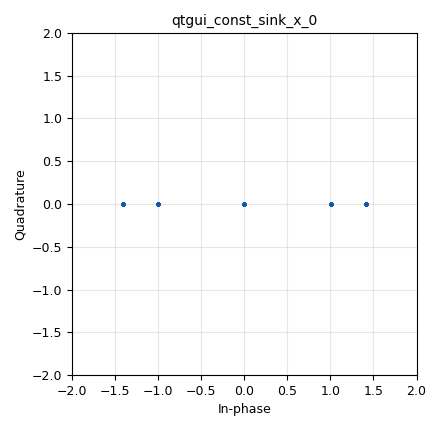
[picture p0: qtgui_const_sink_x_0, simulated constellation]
options:
  parameters:
    author: Benjamin
    copyright: http://courses.washington.edu/ee420/projects/lab2_gnuradio.pdf
    generate_options: qt_gui
    id: DBPSK
    output_language: python
    title: DBPSK
  states: {}

blocks:
- name: samp_rate
  id: variable
  parameters:
    value: '32000'
  states: {}
- name: blocks_file_sink_0
  id: blocks_file_sink
  parameters:
    file: /dev/pts/0
    type: byte
  states: {}
- name: blocks_file_sink_0_0
  id: blocks_file_sink
  parameters:
    file: /dev/pts/1
    type: byte
  states: {}
- name: blocks_throttle_0
  id: blocks_throttle
  parameters:
    samples_per_second: samp_rate
    type: complex
  states: {}
- name: blocks_unpacked_to_packed_xx_0
  id: blocks_unpacked_to_packed_xx
  parameters:
    bits_per_chunk: '1'
    endianness: gr.GR_MSB_FIRST
    type: byte
  states: {}
- name: blocks_vector_source_x_0
  id: blocks_vector_source_x
  parameters:
    repeat: 'True'
    type: byte
    vector: '[1, 0]'
  states: {}
- name: digital_psk_demod_0
  id: digital_psk_demod
  parameters:
    constellation_points: '2'
    differential: 'True'
    excess_bw: '0.35'
    freq_bw: 6.28/100.0
    mod_code: '"gray"'
    phase_bw: 6.28/100.0
    samples_per_symbol: '2'
    timing_bw: 6.28/100.0
  states: {}
- name: digital_psk_mod_0
  id: digital_psk_mod
  parameters:
    constellation_points: '2'
    differential: 'True'
    excess_bw: '0.35'
    mod_code: '"gray"'
    samples_per_symbol: '2'
  states: {}
- name: qtgui_const_sink_x_0
  id: qtgui_const_sink_x
  parameters:
    size: '1024'
    type: complex
  states: {}

connections:
- [blocks_throttle_0, '0', digital_psk_demod_0, '0']
- [blocks_throttle_0, '0', qtgui_const_sink_x_0, '0']
- [blocks_unpacked_to_packed_xx_0, '0', digital_psk_mod_0, '0']
- [blocks_vector_source_x_0, '0', blocks_file_sink_0_0, '0']
- [blocks_vector_source_x_0, '0', blocks_unpacked_to_packed_xx_0, '0']
- [digital_psk_demod_0, '0', blocks_file_sink_0, '0']
- [digital_psk_mod_0, '0', blocks_throttle_0, '0']

metadata:
  file_format: 1
